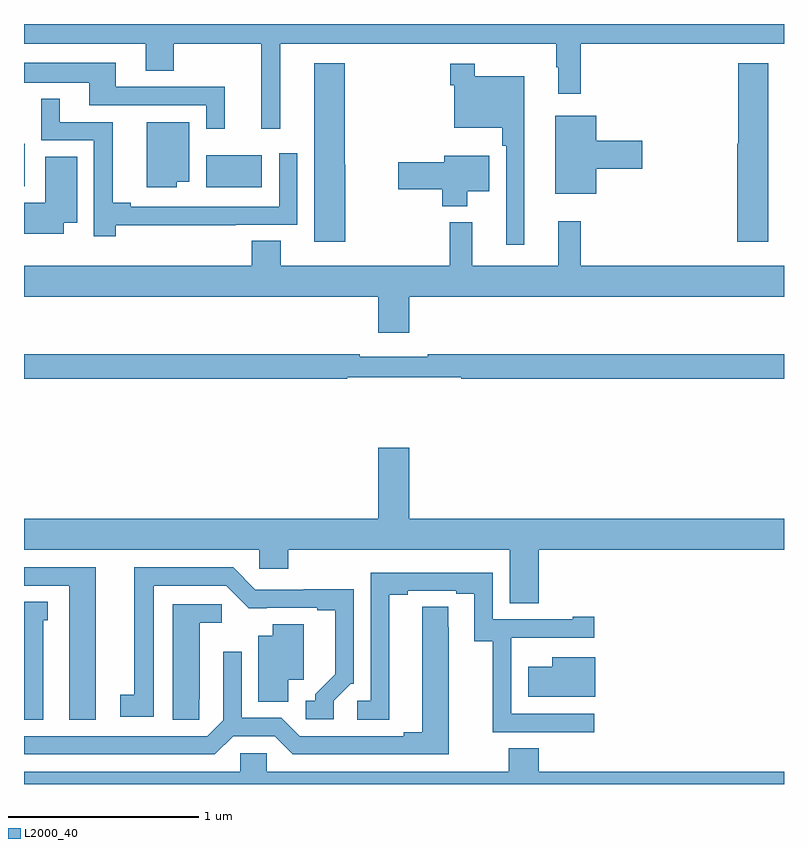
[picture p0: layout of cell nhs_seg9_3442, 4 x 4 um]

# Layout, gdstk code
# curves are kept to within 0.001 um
import gdstk
lib = gdstk.Library(unit=1e-6, precision=1e-09)
def R(c, l, rs):  # rectangles x0, y0, x1, y1
    for r in rs: c.add(gdstk.rectangle(r[:2], r[2:], *l))
def P(c, l, *ps):  # polygons
    for p in ps: c.add(gdstk.Polygon(p, *l))
L2000_40 = (2000, 40)

nhs_seg9_3442 = lib.new_cell('nhs_seg9_3442')
R(nhs_seg9_3442, L2000_40, [(307.958,1219.64,308.251,1219.81), (307,1219.646,307.003,1219.87)])
P(nhs_seg9_3442, L2000_40, [(308.348,1220.396),(309.801,1220.396),(309.801,1220.273),(309.812,1220.273),(309.812,1220.133),(309.929,1220.133),(309.929,1220.396),(311,1220.396),(311,1220.5),(307,1220.5),(307,1220.396),(307.64,1220.396),(307.64,1220.254),(307.788,1220.254),(307.788,1220.396),(308.249,1220.396),(308.249,1219.95),(308.348,1219.95)],
  [(308.057,1220.169),(307.483,1220.169),(307.483,1220.296),(307,1220.296),(307,1220.192),(307.343,1220.192),(307.343,1220.073),(307.959,1220.073),(307.959,1219.95),(308.057,1219.95)],
  [(308.692,1219.758),(308.687,1219.758),(308.687,1220.293),(308.528,1220.293),(308.528,1219.353),(308.692,1219.353)],
  [(310.918,1220.293),(310.76,1220.293),(310.76,1219.869),(310.754,1219.869),(310.754,1219.353),(310.918,1219.353)],
  [(309.634,1220.224),(309.373,1220.224),(309.373,1220.29),(309.244,1220.29),(309.244,1220.177),(309.264,1220.177),(309.264,1219.955),(309.517,1219.955),(309.517,1219.859),(309.537,1219.859),(309.537,1219.338),(309.634,1219.338)],
  [(307.484,1219.442),(308.114,1219.442),(308.114,1219.443),(308.439,1219.443),(308.439,1219.819),(308.343,1219.819),(308.343,1219.539),(307.561,1219.539),(307.561,1219.559),(307.466,1219.559),(307.466,1219.983),(307.189,1219.983),(307.189,1220.107),(307.091,1220.107),(307.091,1219.887),(307.368,1219.887),(307.368,1219.383),(307.484,1219.383)],
  [(310.012,1219.739),(310.255,1219.739),(310.255,1219.886),(310.012,1219.886),(310.012,1220.017),(309.797,1220.017),(309.797,1219.607),(310.012,1219.607)],
  [(307.804,1219.67),(307.87,1219.67),(307.87,1219.984),(307.646,1219.984),(307.646,1219.64),(307.804,1219.64)],
  [(309.334,1219.619),(309.448,1219.619),(309.448,1219.807),(309.212,1219.807),(309.212,1219.772),(308.97,1219.772),(308.97,1219.63),(309.2,1219.63),(309.2,1219.541),(309.334,1219.541)],
  [(307.21,1219.454),(307.279,1219.454),(307.279,1219.802),(307.112,1219.802),(307.112,1219.558),(307,1219.558),(307,1219.397),(307.21,1219.397)],
  [(309.028,1219.064),(311,1219.064),(311,1219.228),(309.929,1219.228),(309.929,1219.462),(309.812,1219.462),(309.812,1219.228),(309.359,1219.228),(309.359,1219.456),(309.241,1219.456),(309.241,1219.228),(308.35,1219.228),(308.35,1219.358),(308.198,1219.358),(308.198,1219.228),(307,1219.228),(307,1219.064),(308.864,1219.064),(308.864,1218.876),(309.028,1218.876)],
  [(308.702,1218.642),(309.302,1218.642),(309.302,1218.634),(311,1218.634),(311,1218.763),(309.124,1218.763),(309.124,1218.75),(308.768,1218.75),(308.768,1218.763),(307,1218.763),(307,1218.634),(308.702,1218.634)],
  [(309.71,1217.732),(311,1217.732),(311,1217.896),(309.028,1217.896),(309.028,1218.271),(308.864,1218.271),(308.864,1217.896),(307,1217.896),(307,1217.732),(308.238,1217.732),(308.238,1217.634),(308.39,1217.634),(308.39,1217.732),(309.557,1217.732),(309.557,1217.452),(309.71,1217.452)],
  [(307.378,1217.64),(307,1217.64),(307,1217.544),(307.238,1217.544),(307.238,1216.839),(307.378,1216.839)],
  [(308.631,1216.938),(308.721,1217.028),(308.736,1217.028),(308.736,1217.525),(308.473,1217.525),(308.473,1217.523),(308.217,1217.523),(308.1,1217.64),(307.58,1217.64),(307.58,1216.97),(307.506,1216.97),(307.506,1216.854),(307.684,1216.854),(307.684,1217.544),(308.064,1217.544),(308.182,1217.426),(308.543,1217.427),(308.543,1217.415),(308.639,1217.415),(308.639,1217.078),(308.534,1216.973),(308.534,1216.938),(308.484,1216.938),(308.484,1216.842),(308.631,1216.842)],
  [(310,1216.869),(309.564,1216.869),(309.564,1217.27),(309.566,1217.27),(309.566,1217.271),(310,1217.271),(310,1217.38),(309.887,1217.38),(309.887,1217.367),(309.468,1217.367),(309.468,1217.613),(308.826,1217.613),(308.826,1216.938),(308.754,1216.938),(308.754,1216.837),(308.923,1216.837),(308.923,1217.497),(309.019,1217.497),(309.019,1217.517),(309.275,1217.517),(309.275,1217.502),(309.371,1217.502),(309.371,1217.251),(309.466,1217.251),(309.466,1216.773),(310,1216.773)],
  [(307.102,1217.361),(307.126,1217.361),(307.126,1217.459),(307,1217.459),(307,1216.839),(307.102,1216.839)],
  [(307.923,1216.945),(307.924,1216.945),(307.924,1217.348),(308.041,1217.348),(308.041,1217.445),(307.784,1217.445),(307.784,1216.837),(307.923,1216.837)],
  [(308.101,1216.752),(308.319,1216.752),(308.415,1216.656),(309.235,1216.656),(309.234,1217.432),(309.095,1217.432),(309.095,1216.772),(308.999,1216.772),(308.999,1216.752),(308.451,1216.752),(308.355,1216.848),(308.145,1216.848),(308.145,1217.197),(308.049,1217.197),(308.049,1216.836),(307.965,1216.752),(307,1216.752),(307,1216.656),(308.005,1216.656)],
  [(308.392,1217.048),(308.473,1217.048),(308.473,1217.342),(308.309,1217.342),(308.309,1217.281),(308.234,1217.281),(308.234,1216.933),(308.392,1216.933)],
  [(310.006,1217.167),(309.779,1217.167),(309.779,1217.116),(309.654,1217.116),(309.654,1216.958),(310.006,1216.958)],
  [(311,1216.564),(309.71,1216.564),(309.71,1216.688),(309.55,1216.688),(309.55,1216.564),(308.277,1216.564),(308.277,1216.662),(308.139,1216.662),(308.139,1216.564),(307,1216.564),(307,1216.5),(311,1216.5)])

lib.write_gds('nhs_seg9_3442.gds')
